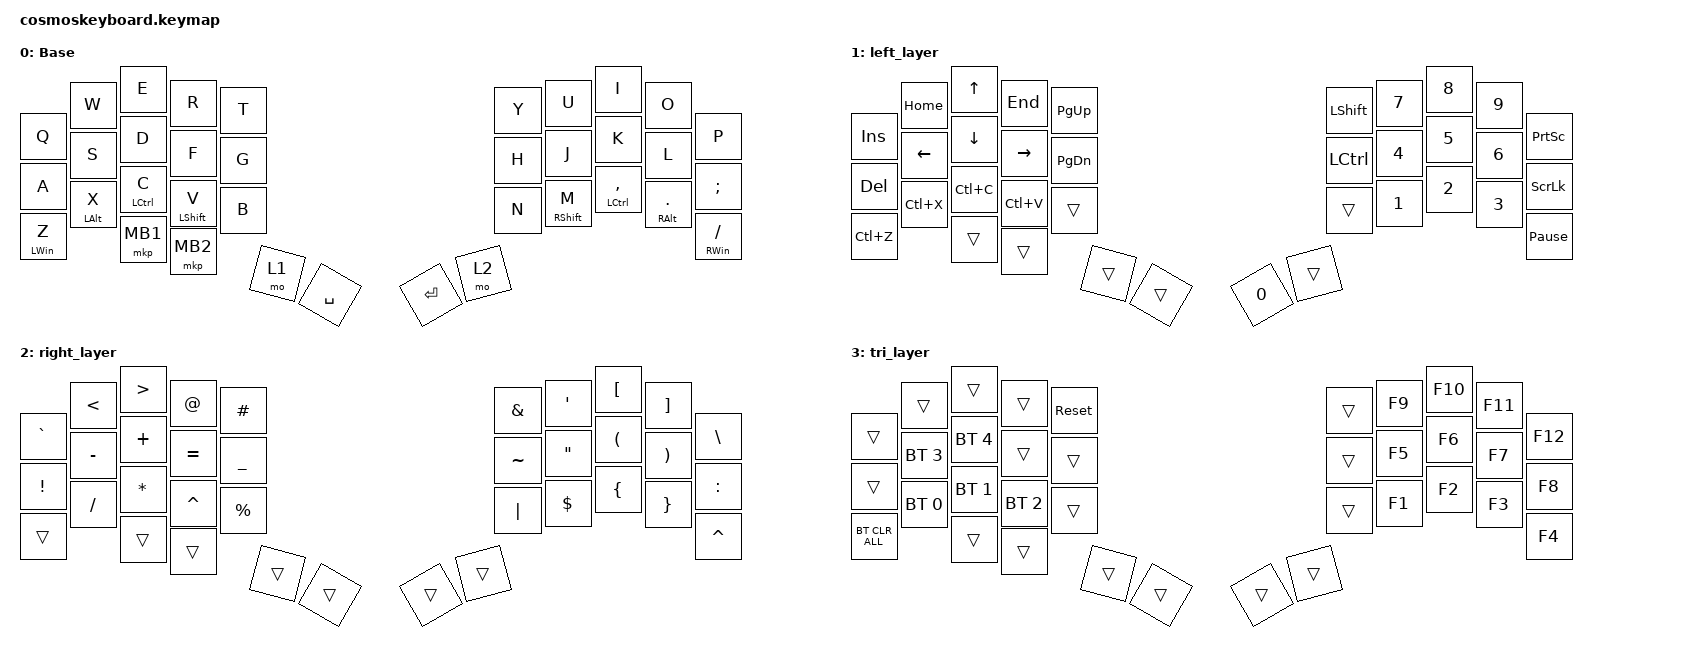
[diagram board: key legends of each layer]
#include <input/processors.dtsi>      // 프로세서 관련
#include <behaviors.dtsi>
#include <dt-bindings/zmk/bt.h>
#include <dt-bindings/zmk/keys.h>
#include <dt-bindings/zmk/pointing.h>

/ {
    trackball_listener: trackball_listener {
        compatible = "zmk,input-listener";
        device = <&input_split_right0>;

        // 기본: 마우스 이동 속도 조절

        input-processors = <&zip_xy_scaler 1 2>;  // 마우스 속도 1/2 (취향껏 조절)
        // 레이어 1 오버라이드: 마우스 이동을 스크롤로 완전히 교체

        scroller {
            layers = <1>;
            input-processors =
                <&zip_xy_scaler 1 8>,
                // 스크롤 속도 조절,
                <&zip_xy_to_scroll_mapper>;
      // xy → 스크롤 변환
        };
    };
};

/ {
    combos {
        compatible = "zmk,combos";

        tab {
            bindings = <&kp TAB>;
            key-positions = <12 13>;
        };

        backspace {
            bindings = <&kp BACKSPACE>;
            key-positions = <17 16>;
        };

        esc {
            bindings = <&kp ESC>;
            key-positions = <2 3>;
        };

        window_change_language {
            bindings = <&kp RIGHT_ALT>;
            key-positions = <33 34>;
        };

        capsword {
            bindings = <&caps_word>;
            key-positions = <14 15>;
        };

        space {
            bindings = <&kp SPACE>;
            key-positions = <23 22>;
        };

        enter {
            bindings = <&kp ENTER>;
            key-positions = <26 27>;
        };
    };

    behaviors {
        ht: ht {
            compatible = "zmk,behavior-hold-tap";
            label = "HT";
            bindings = <&kp>, <&kp>;

            #binding-cells = <2>;
            tapping-term-ms = <200>;
            flavor = "balanced";
            quick-tap-ms = <100>;
            require-prior-idle-ms = <100>;
        };
    };

    keymap {
        compatible = "zmk,keymap";

        default_layer {
            display-name = "Base";
            bindings = <
&kp Q           &kp W           &kp E        &kp R             &kp T      &kp Y      &kp U              &kp I            &kp O                 &kp P
&kp A           &kp S           &kp D        &kp F             &kp G      &kp H      &kp J              &kp K            &kp L                 &kp SEMICOLON
&ht LEFT_WIN Z  &ht LEFT_ALT X  &ht LCTRL C  &ht LEFT_SHIFT V  &kp B      &kp N      &ht RIGHT_SHIFT M  &ht LCTRL COMMA  &ht RIGHT_ALT PERIOD  &ht RIGHT_WIN SLASH
                &mkp MB1        &mkp MB2     &mo 1             &kp SPACE  &kp ENTER  &mo 2
            >;
        };

        left_layer {
            bindings = <
&kp INS    &kp HOME   &kp UP_ARROW  &kp END    &kp PAGE_UP    &kp LEFT_SHIFT  &kp N7        &kp N8  &kp N9  &kp PRINTSCREEN
&kp DEL    &kp LEFT   &kp DOWN      &kp RIGHT  &kp PAGE_DOWN  &kp LCTRL       &kp N4        &kp N5  &kp N6  &kp SLCK
&kp LC(Z)  &kp LC(X)  &kp LC(C)     &kp LC(V)  &trans         &trans          &kp NUMBER_1  &kp N2  &kp N3  &kp PAUSE_BREAK
           &trans     &trans        &trans     &trans         &kp N0          &trans
            >;
        };

        right_layer {
            bindings = <
&kp GRAVE        &kp LESS_THAN  &kp GREATER_THAN  &kp AT_SIGN  &kp HASH        &kp AMPERSAND  &kp SQT            &kp LEFT_BRACKET      &kp RIGHT_BRACKET      &kp BACKSLASH
&kp EXCLAMATION  &kp MINUS      &kp PLUS          &kp EQUAL    &kp UNDERSCORE  &kp TILDE      &kp DOUBLE_QUOTES  &kp LEFT_PARENTHESIS  &kp RIGHT_PARENTHESIS  &kp COLON
&trans           &kp SLASH      &kp ASTERISK      &kp CARET    &kp PERCENT     &kp PIPE       &kp DOLLAR         &kp LEFT_BRACE        &kp RIGHT_BRACE        &kp CARET
                 &trans         &trans            &trans       &trans          &trans         &trans
            >;
        };

        tri_layer {
            bindings = <
&trans          &trans        &trans        &trans        &sys_reset  &trans  &kp F9  &kp F10  &kp F11  &kp F12
&trans          &bt BT_SEL 3  &bt BT_SEL 4  &trans        &trans      &trans  &kp F5  &kp F6   &kp F7   &kp F8
&bt BT_CLR_ALL  &bt BT_SEL 0  &bt BT_SEL 1  &bt BT_SEL 2  &trans      &trans  &kp F1  &kp F2   &kp F3   &kp F4
                &trans        &trans        &trans        &trans      &trans  &trans
            >;
        };
    };

    conditional_layers {
        compatible = "zmk,conditional-layers";

        tri_layer {
            if-layers = <1 2>;
            then-layer = <3>;
        };
    };
};
